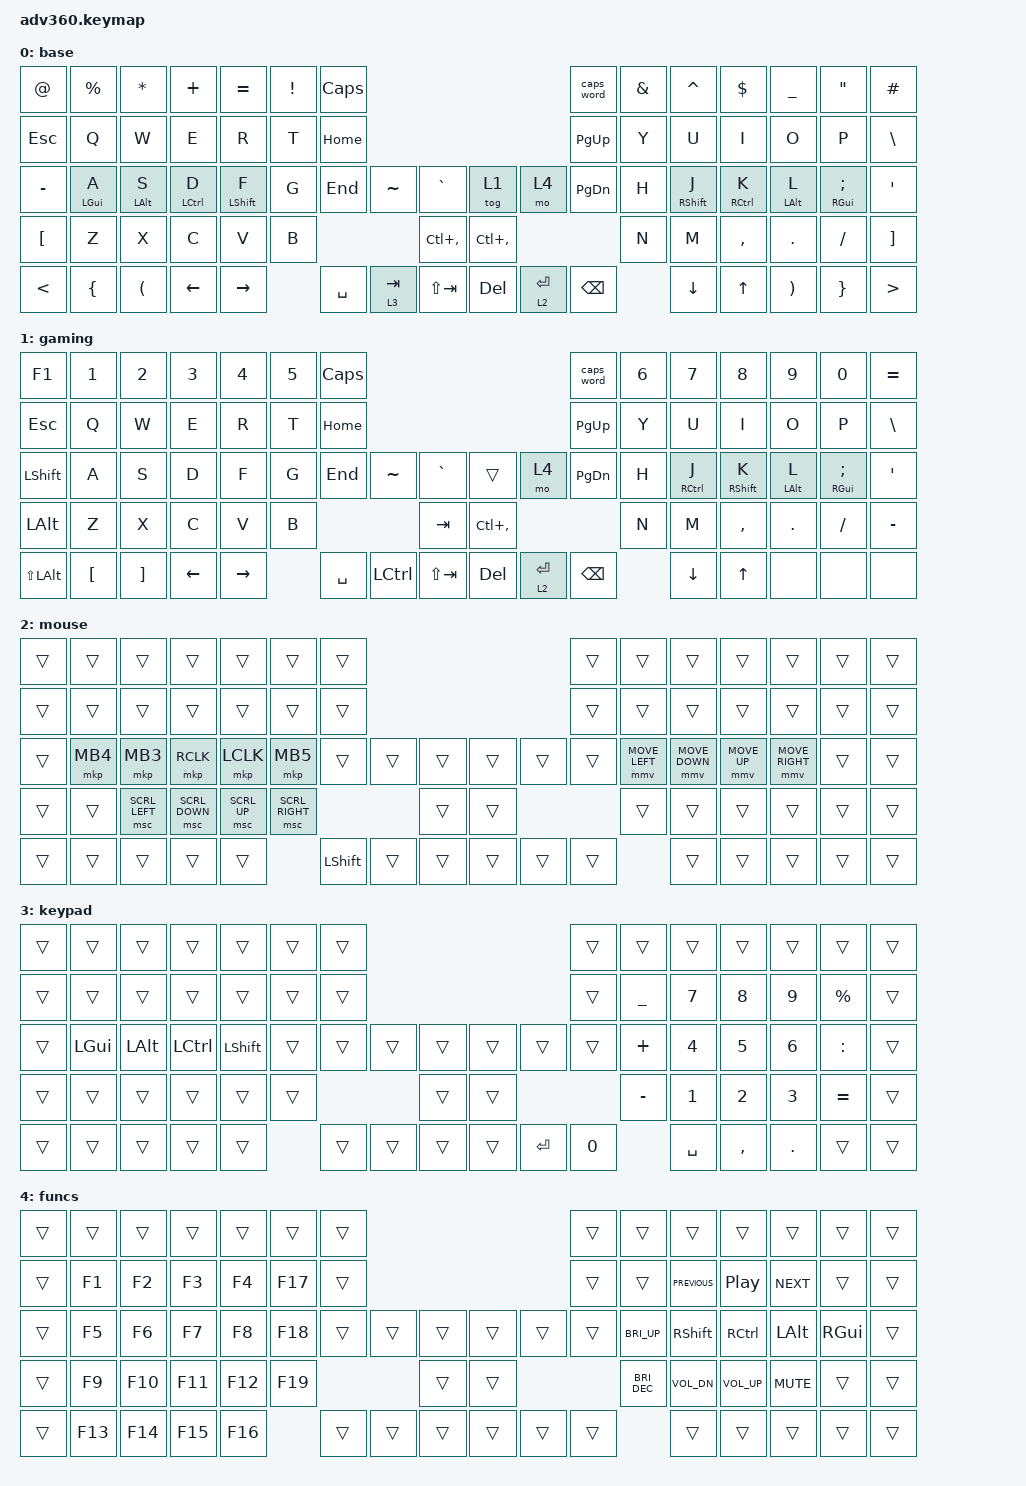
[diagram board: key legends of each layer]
/*
 * Copyright (c) 2020 The ZMK Contributors
 *
 * SPDX-License-Identifier: MIT
 */
/* THIS FILE WAS GENERATED!
 *
 * This file was generated automatically. You may or may not want to
 * edit it directly.
 */
/*
 * keymap {
 * compatible = "zmk,keymap";
 */

#include <dt-bindings/zmk/stp.h>
#include <behaviors.dtsi>
#include <dt-bindings/zmk/keys.h>
#include <dt-bindings/zmk/pointing.h>

&lt { quick-tap-ms = <170>; };

/ {
    behaviors {
        #include "macros.dtsi"
        #include "version.dtsi"

        hm: homerow_mods {
            compatible = "zmk,behavior-hold-tap";
            label = "HOMEROW_MODS";
            #binding-cells = <2>;
            tapping-term-ms = <180>;
            flavor = "tap-preferred";
            bindings = <&kp>, <&kp>;

            quick-tap-ms = <175>;
        };
    };

    combos { compatible = "zmk,combos"; };

    keymap {
        compatible = "zmk,keymap";

        default_layer {
            display-name = "base";
            bindings = <
&kp AT         &kp PERCENT     &kp ASTRK             &kp PLUS     &kp EQUAL    &kp EXCL  &kp CAPS                                                           &caps_word     &kp AMPS  &kp CARET       &kp DOLLAR    &kp UNDER   &kp DOUBLE_QUOTES  &kp HASH
&kp ESCAPE     &kp Q           &kp W                 &kp E        &kp R        &kp T     &kp HOME                                                           &kp PAGE_UP    &kp Y     &kp U           &kp I         &kp O       &kp P              &kp BSLH
&kp MINUS      &hm LGUI A      &hm LALT S            &hm LCTRL D  &hm LSHFT F  &kp G     &kp END    &kp TILDE  &kp GRAVE          &tog 1         &mo 4      &kp PAGE_DOWN  &kp H     &hm RSHFT J     &hm RCTRL K   &hm LALT L  &hm RGUI SEMI      &kp SQT
&kp LBKT       &kp Z           &kp X                 &kp C        &kp V        &kp B                           &kp LC(COMMA)      &kp LC(COMMA)                            &kp N     &kp M           &kp COMMA     &kp DOT     &kp FSLH           &kp RBKT
&kp LESS_THAN  &kp LEFT_BRACE  &kp LEFT_PARENTHESIS  &kp LEFT     &kp RIGHT              &kp SPACE  &lt 3 TAB  &kp LS(TAB)        &kp DEL        &lt 2 RET  &kp BACKSPACE            &kp DOWN_ARROW  &kp UP_ARROW  &kp RPAR    &kp RIGHT_BRACE    &kp GREATER_THAN
            >;
        };

        gaming {
            display-name = "gaming";
            bindings = <
&kp F1        &kp N1            &kp N2             &kp N3    &kp N4     &kp N5  &kp CAPS                                                         &caps_word     &kp N6  &kp N7          &kp N8        &kp N9      &kp N0         &kp EQUAL
&kp ESCAPE    &kp Q             &kp W              &kp E     &kp R      &kp T   &kp HOME                                                         &kp PG_UP      &kp Y   &kp U           &kp I         &kp O       &kp P          &kp BSLH
&kp LSHFT     &kp A             &kp S              &kp D     &kp F      &kp G   &kp END    &kp TILDE  &kp GRAVE        &trans         &mo 4      &kp PAGE_DOWN  &kp H   &hm RCTRL J     &hm RSHFT K   &hm LALT L  &hm RGUI SEMI  &kp SQT
&kp LALT      &kp Z             &kp X              &kp C     &kp V      &kp B                         &kp TAB          &kp LC(COMMA)                            &kp N   &kp M           &kp COMMA     &kp DOT     &kp FSLH       &kp MINUS
&kp LS(LALT)  &kp LEFT_BRACKET  &kp RIGHT_BRACKET  &kp LEFT  &kp RIGHT          &kp SPACE  &kp LCTRL  &kp LS(TAB)      &kp DEL        &lt 2 RET  &kp BACKSPACE          &kp DOWN_ARROW  &kp UP_ARROW  &none       &none          &none
            >;
        };

        mouse {
            display-name = "mouse";
            bindings = <
&trans  &trans    &trans          &trans          &trans        &trans           &trans                                         &trans  &trans          &trans          &trans        &trans           &trans  &trans
&trans  &trans    &trans          &trans          &trans        &trans           &trans                                         &trans  &trans          &trans          &trans        &trans           &trans  &trans
&trans  &mkp MB4  &mkp MB3        &mkp RCLK       &mkp LCLK     &mkp MB5         &trans     &trans  &trans      &trans  &trans  &trans  &mmv MOVE_LEFT  &mmv MOVE_DOWN  &mmv MOVE_UP  &mmv MOVE_RIGHT  &trans  &trans
&trans  &trans    &msc SCRL_LEFT  &msc SCRL_DOWN  &msc SCRL_UP  &msc SCRL_RIGHT                     &trans      &trans                  &trans          &trans          &trans        &trans           &trans  &trans
&trans  &trans    &trans          &trans          &trans                         &kp LSHFT  &trans  &trans      &trans  &trans  &trans                  &trans          &trans        &trans           &trans  &trans
            >;
        };

        keypad {
            display-name = "keypad";
            bindings = <
&trans  &trans    &trans    &trans     &trans     &trans  &trans                                       &trans  &trans     &trans        &trans     &trans        &trans       &trans
&trans  &trans    &trans    &trans     &trans     &trans  &trans                                       &trans  &kp UNDER  &kp N7        &kp N8     &kp N9        &kp PERCENT  &trans
&trans  &kp LGUI  &kp LALT  &kp LCTRL  &kp LSHFT  &trans  &trans  &trans  &trans      &trans  &trans   &trans  &kp PLUS   &kp NUMBER_4  &kp N5     &kp NUMBER_6  &kp COLON    &trans
&trans  &trans    &trans    &trans     &trans     &trans                  &trans      &trans                   &kp MINUS  &kp N1        &kp N2     &kp N3        &kp EQUAL    &trans
&trans  &trans    &trans    &trans     &trans             &trans  &trans  &trans      &trans  &kp RET  &kp N0             &kp SPACE     &kp COMMA  &kp DOT       &trans       &trans
            >;
        };

        funcs {
            display-name = "funcs";
            bindings = <
&trans  &trans   &trans   &trans   &trans   &trans   &trans                                      &trans  &trans                &trans          &trans            &trans      &trans    &trans
&trans  &kp F1   &kp F2   &kp F3   &kp F4   &kp F17  &trans                                      &trans  &trans                &kp C_PREVIOUS  &kp C_PLAY_PAUSE  &kp C_NEXT  &trans    &trans
&trans  &kp F5   &kp F6   &kp F7   &kp F8   &kp F18  &trans  &trans  &trans      &trans  &trans  &trans  &kp C_BRI_UP          &kp RSHFT       &kp RCTRL         &kp LALT    &kp RGUI  &trans
&trans  &kp F9   &kp F10  &kp F11  &kp F12  &kp F19                  &trans      &trans                  &kp C_BRIGHTNESS_DEC  &kp C_VOL_DN    &kp C_VOLUME_UP   &kp C_MUTE  &trans    &trans
&trans  &kp F13  &kp F14  &kp F15  &kp F16           &trans  &trans  &trans      &trans  &trans  &trans                        &trans          &trans            &trans      &trans    &trans
            >;
        };
    };
};

/* / { */
/*     behaviors { */
/*         #include "macros.dtsi" */
/*         #include "version.dtsi" */
/**/
/*         hm: homerow_mods { */
/*             compatible = "zmk,behavior-hold-tap"; */
/*             label = "HOMEROW_MODS"; */
/*             #binding-cells = <2>; */
/*             tapping-term-ms = <180>; */
/*             flavor = "tap-preferred"; */
/*             bindings = <&kp>, <&kp>; */
/**/
/*             quick-tap-ms = <175>; */
/*         }; */
/*     }; */
/**/
/*     combos { compatible = "zmk,combos"; }; */
/**/
/*     keymap { */
/*         compatible = "zmk,keymap"; */
/*         default_layer { */
/*             display-name = "base"; */
/*             bindings = < */
/* &kp PLUS           &kp N1      &kp N2      &kp N3        &kp N4               &kp N5                   &kp ESC                                                                  &tog 4           &kp N6                    &kp N7               &kp N8        &kp N9      &kp N0      &kp EQUAL */
/* &kp PIPE           &kp Q       &kp W       &kp F         &kp P                &kp B                    &kp HOME                                                                 &kp C_NEXT       &kp J                     &kp L                &kp U         &kp Y       &kp SEMI    &kp BACKSLASH */
/* &kp DOUBLE_QUOTES  &hm LGUI A  &hm LALT R  &hm LSHIFT S  &hm LCTRL T          &hm LA(LC(LG(LSHFT))) G  &kp END    &kp TILDE  &kp GRAVE          &kp C_VOL_UP  &kp C_PLAY_PAUSE  &kp C_PREVIOUS   &hm LA(LC(LG(LSHIFT))) M  &hm RCTRL N          &hm RSHFT E   &hm LALT I  &hm RGUI O  &kp SINGLE_QUOTE */
/* &kp UNDER          &kp Z       &kp X       &kp C         &hm LC(LA(LSHFT)) D  &kp V                                          &kp PAGE_UP        &kp C_MUTE                                       &kp K                     &hm LA(LC(LSHFT)) H  &kp COMMA     &kp DOT     &kp FSLH    &kp MINUS */
/* &kp LBKT           &kp LBRC    &kp LPAR    &kp LEFT      &kp RIGHT                                     &kp SPACE  &lt 1 TAB  &kp PAGE_DOWN      &kp C_VOL_DN  &lt 3 RET         &lt 2 BACKSPACE                            &kp DOWN_ARROW       &kp UP_ARROW  &kp RPAR    &kp RBRC    &kp RBKT */
/*             >; */
/*         }; */
/**/
/*         keypad { */
/*             display-name = "keypad"; */
/*             bindings = < */
/* &trans  &trans    &trans    &trans     &trans             &trans                 &trans                                          &trans        &trans     &trans        &trans        &trans        &trans     &trans */
/* &trans  &trans    &trans    &trans     &trans             &trans                 &trans                                          &trans        &kp EQUAL  &kp N7        &kp N8        &kp N9        &trans     &trans */
/* &trans  &kp LGUI  &kp LALT  &kp LSHFT  &kp LCTRL          &kp LA(LC(LG(LSHFT)))  &trans  &trans  &trans      &trans  &trans      &trans        &kp PLUS   &kp NUMBER_4  &kp N5        &kp NUMBER_6  &kp MINUS  &trans */
/* &trans  &trans    &trans    &trans     &kp LA(LC(LSHFT))  &trans                                 &trans      &trans                            &kp MINUS  &kp NUMBER_1  &kp NUMBER_2  &kp NUMBER_3  &kp SLASH  &trans */
/* &trans  &trans    &trans    &trans     &trans                                    &trans  &trans  &trans      &trans  &kp DELETE  &kp NUMBER_0             &trans        &trans        &trans        &trans     &trans */
/*             >; */
/*         }; */
/**/
/*         symbols { */
/*             display-name = "symbols"; */
/*             bindings = < */
/* &trans  &trans     &trans     &trans     &trans     &trans             &trans                                            &trans  &trans                 &trans             &trans         &trans            &trans    &trans */
/* &trans  &kp AT     &kp PIPE   &kp LBRC   &kp LPAR   &kp CARET          &trans                                            &trans  &kp DOLLAR             &kp RPAR           &kp RBRC       &kp BACKSLASH     &trans    &trans */
/* &trans  &kp EXCL   &kp SLASH  &kp MINUS  &kp PLUS   &kp EQUAL          &trans      &trans    &trans      &trans  &trans  &trans  &kp LA(LC(LG(RSHFT)))  &kp RCTRL          &kp RSHFT      &kp LALT          &kp RGUI  &trans */
/* &trans  &kp POUND  &kp AMPS   &kp UNDER  &kp ASTRK  &kp DOUBLE_QUOTES                        &trans      &trans                  &kp SINGLE_QUOTE       &kp LA(LC(RSHFT))  &kp LESS_THAN  &kp GREATER_THAN  &trans    &trans */
/* &trans  &trans     &trans     &trans     &trans                        &caps_word  &kp CAPS  &trans      &trans  &trans  &trans                         &trans             &trans         &trans            &trans    &trans */
/*             >; */
/*         }; */
/**/
/*         funcs { */
/*             display-name = "func"; */
/*             bindings = < */
/* &trans  &trans  &trans   &trans   &trans   &trans        &trans                                          &trans  &trans                 &trans             &trans     &trans      &trans    &trans */
/* &trans  &kp F1  &kp F2   &kp F3   &kp F4   &kp C_VOL_UP  &trans                                          &trans  &trans                 &kp C_PREVIOUS     &kp C_PP   &kp C_NEXT  &trans    &trans */
/* &trans  &kp F5  &kp F6   &kp F7   &kp F8   &kp C_MUTE    &trans  &trans      &trans      &trans  &trans  &trans  &kp LA(LC(LG(RSHFT)))  &kp RCTRL          &kp RSHFT  &kp LALT    &kp RGUI  &trans */
/* &trans  &kp F9  &kp F10  &kp F11  &kp F12  &kp C_VOL_DN                      &trans      &trans                  &trans                 &kp LA(LC(RSHFT))  &trans     &trans      &trans    &trans */
/* &trans  &trans  &trans   &trans   &trans                 &trans  &kp ESCAPE  &trans      &trans  &trans  &trans                         &trans             &trans     &trans      &trans    &trans */
/*             >; */
/*         }; */
/**/
/*         gaming { */
/*             display-name = "gaming"; */
/*             bindings = < */
/* &trans  &trans  &trans  &trans  &trans  &trans  &trans                                      &trans  &trans  &trans  &trans  &trans  &trans  &trans */
/* &trans  &trans  &trans  &trans  &trans  &trans  &trans                                      &trans  &trans  &trans  &trans  &trans  &trans  &trans */
/* &trans  &kp A   &kp R   &kp S   &kp T   &kp G   &trans  &trans  &trans      &trans  &trans  &trans  &kp M   &kp N   &kp E   &kp I   &kp O   &trans */
/* &trans  &trans  &trans  &trans  &kp D   &trans                  &trans      &trans                  &trans  &kp H   &trans  &trans  &trans  &trans */
/* &trans  &trans  &trans  &trans  &trans          &trans  &trans  &trans      &trans  &trans  &trans          &trans  &trans  &trans  &trans  &trans */
/*             >; */
/*         }; */
/**/
/*         extra1 {  */
/*             display-name = "Red";     */
/*             status = "reserved"; */
/*         }; */
/**/
/*         extra2 {  */
/*             display-name = "Purple";     */
/*             status = "reserved"; */
/*         }; */
/**/
/*         extra3 {  */
/*             display-name = "Cyan";     */
/*             status = "reserved"; */
/*         }; */
/**/
/*         extra4 {  */
/*             display-name = "Yellow";     */
/*             status = "reserved"; */
/*         }; */
/*     }; */
/* }; */
